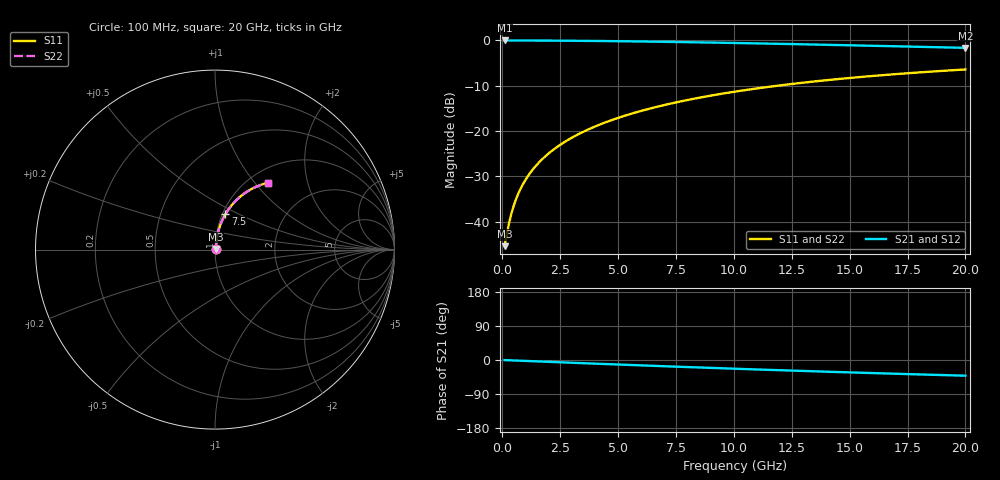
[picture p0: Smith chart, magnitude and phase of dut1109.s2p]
! Touchstone file exported from HFSS 2024.1.0
!  File:  C:/UserFiles/LocalFiles/RDL_TSV_Batchsim/temp_RDL_top_1109_1780046617.aedt
!  Generated:  05:25:57 PM May 29, 2026
!  Design:  RDL_top
!  Project:  temp_RDL_top_1109_1780046617
!  Setup:  Setup1
!  Solution:  Sweep
! Variables:
!  dtsv = 10.80580581um
!  hbump = 3um
!  htsv = 99.05um
!  ldown = 100um
!  lrdl = 503.43um
!  p = 40
!  p1 = 53.92um
!  rhole = 1um
!  t = 450um
!  tdown = 3.915915916um
!  trdl = 3.23um
!  wdown = 15.38538539um
!  wrdl = 12.44um
# GHz S MA R 50.000000
! Terminal data exported
! Port[1] = Box2_T1
! Port[2] = Box2_T2
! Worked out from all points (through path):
!   200 points, 100 MHz to 20 GHz, reference 50 ohm
!   highest |S21| = -0.04 dB at 100 MHz (marker M1); lowest = -1.7 dB at 20 GHz (marker M2)
!   group delay of S21, straight-line fit = 5.76 ps
!   lowest |S11| = -45.4 dB at 100 MHz (marker M3), VSWR 1.01, Z = 50.5 + j0.293 ohm
!   |S11| at or under -10 dB: start of sweep to 11.91 GHz
!   |S22| runs from -45.4 to -6.4 dB; largest |S21 - S12| = 3.2e-15
!   S11 on the Smith chart (normalised r, x): 100 MHz: 1.01, +0.01; 7.5 GHz: 1.03, +0.43; 20 GHz: 1.22, +1.18
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0.1  0.005376 32.7  0.9955 -0.3  0.9955 -0.3  0.005376 32.7
! Gamma 0 0 0 0
! Port Impedance 50 0 50 0
0.2  0.007403 51.6  0.9954 -0.5  0.9954 -0.5  0.007403 51.6
0.3  0.00987 61.4  0.9953 -0.7  0.9953 -0.7  0.00987 61.4
0.4  0.0125 67.1  0.9952 -1.0  0.9952 -1.0  0.0125 67.1
0.5  0.01519 70.7  0.995 -1.2  0.995 -1.2  0.01519 70.7
0.6  0.01791 73.1  0.9949 -1.5  0.9949 -1.5  0.01791 73.1
0.8  0.02338 76.2  0.9945 -2.0  0.9945 -2.0  0.02338 76.1
1.1  0.03162 78.6  0.994 -2.7  0.994 -2.7  0.03162 78.6
1.5  0.04268 80.1  0.9931 -3.7  0.9931 -3.7  0.04267 80.1
1.8  0.05099 80.6  0.9924 -4.4  0.9924 -4.4  0.05099 80.6
2.1  0.05931 80.8  0.9915 -5.1  0.9915 -5.1  0.05931 80.8
2.7  0.07597 80.7  0.9893 -6.6  0.9893 -6.6  0.07597 80.7
3.5  0.09815 80.0  0.9858 -8.5  0.9858 -8.5  0.09814 80.0
4.2  0.1175 79.1  0.982 -10.1  0.982 -10.1  0.1175 79.1
5  0.1394 77.9  0.9771 -12.0  0.9771 -12.0  0.1394 77.9
5.9  0.1639 76.4  0.9708 -14.0  0.9708 -14.0  0.1639 76.4
6.8  0.1881 74.8  0.9638 -16.1  0.9638 -16.1  0.188 74.8
7.5  0.2066 73.6  0.9579 -17.6  0.9579 -17.6  0.2065 73.5
10.1  0.2729 68.7  0.9334 -23.2  0.9334 -23.2  0.2728 68.7
13.4  0.35 62.6  0.8987 -29.7  0.8987 -29.7  0.3499 62.6
16.7  0.4181 56.8  0.862 -35.8  0.862 -35.8  0.4179 56.8
20  0.4768 51.4  0.8251 -41.4  0.8251 -41.4  0.4766 51.4
